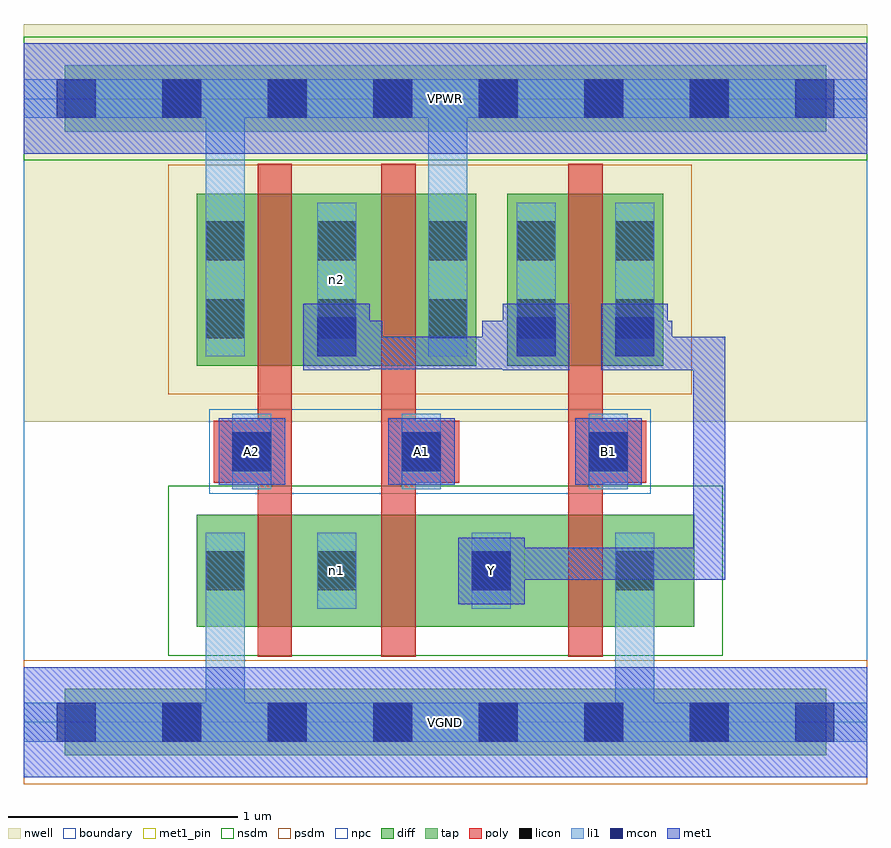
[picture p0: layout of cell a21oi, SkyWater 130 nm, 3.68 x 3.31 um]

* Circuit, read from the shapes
.subckt a21oi A1 A2 B1 VGND VPWR Y n1 n2
XM1 n1 A2 VGND VGND sky130_fd_pr__nfet_01v8 w=0.49 l=0.15
XM2 Y A1 n1 VGND sky130_fd_pr__nfet_01v8 w=0.49 l=0.15
XM3 VGND B1 Y VGND sky130_fd_pr__nfet_01v8 w=0.49 l=0.15
XM4 n2 A2 VPWR VPWR sky130_fd_pr__pfet_01v8 w=0.75 l=0.15
XM5 VPWR A1 n2 VPWR sky130_fd_pr__pfet_01v8 w=0.75 l=0.15
XM6 Y B1 n2 VPWR sky130_fd_pr__pfet_01v8 w=0.75 l=0.15
.ends

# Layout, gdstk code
import gdstk
lib = gdstk.Library(unit=1e-6, precision=1e-09)
def R(c, l, rs):  # rectangles x0, y0, x1, y1
    for r in rs: c.add(gdstk.rectangle(r[:2], r[2:], *l))
def A(c, l, x, y, w, h, nx, ny, dx, dy):  # array of equal rectangles
    R(c, l, [(x+i*dx, y+j*dy, x+i*dx+w, y+j*dy+h) for i in range(nx) for j in range(ny)])
nwell = (64, 20)
diff = (65, 20)
tap = (65, 44)
poly = (66, 20)
licon = (66, 44)
li1 = (67, 20)
mcon = (67, 44)
met1_pin = (68, 16)
met1 = (68, 20)
nsdm = (93, 44)
psdm = (94, 20)
npc = (95, 20)
boundary = (235, 4)

a21oi = lib.new_cell('a21oi')
R(a21oi, nwell, [(0,1.31,3.68,3.045)])
R(a21oi, diff, [(0.755,0.415,2.925,0.905), (0.755,1.555,1.975,2.305), (2.11,1.555,2.79,2.305)])
R(a21oi, tap, [(0.18,-0.145,3.5,0.145), (0.18,2.575,3.5,2.865)])
R(a21oi, poly, [(1.02,0.285,1.17,2.435), (1.56,0.285,1.71,2.435), (2.375,0.285,2.525,2.435), (0.83,1.045,1.16,1.315), (1.57,1.045,1.9,1.315), (2.385,1.045,2.715,1.315)])
A(a21oi, licon, 0.605, -0.085, 0.17, 0.17, 6, 2, 0.46, 2.72)
A(a21oi, licon, 0.795, 1.675, 0.17, 0.17, 3, 2, 0.485, 0.34)
R(a21oi, licon, [(0.795,0.575,0.965,0.745), (1.28,0.575,1.45,0.745), (1.955,0.575,2.125,0.745), (2.58,0.575,2.75,0.745), (0.91,1.095,1.08,1.265), (1.65,1.095,1.82,1.265), (2.465,1.095,2.635,1.265), (2.15,1.675,2.32,1.845), (2.58,1.675,2.75,1.845), (2.15,2.015,2.32,2.185), (2.58,2.015,2.75,2.185)])
A(a21oi, li1, 0.795, 1.595, 0.17, 0.67, 3, 1, 0.485, 0)
R(a21oi, li1, [(0,-0.085,3.68,0.085), (0.795,-0.085,0.965,0.825), (2.58,-0.085,2.75,0.825), (0.795,0.495,0.965,0.825), (1.28,0.495,1.45,0.825), (1.955,0.495,2.125,0.825), (2.58,0.495,2.75,0.825), (0.91,1.015,1.08,1.345), (1.65,1.015,1.82,1.345), (2.465,1.015,2.635,1.345), (0.795,1.595,0.965,2.805), (1.765,1.595,1.935,2.805), (2.15,1.595,2.32,2.265), (2.58,1.595,2.75,2.265), (0,2.635,3.68,2.805)])
A(a21oi, mcon, 0.145, -0.085, 0.17, 0.17, 8, 2, 0.46, 2.72)
R(a21oi, mcon, [(1.955,0.575,2.125,0.745), (0.91,1.095,1.08,1.265), (1.65,1.095,1.82,1.265), (2.465,1.095,2.635,1.265), (1.28,1.595,1.45,1.765), (2.15,1.595,2.32,1.765), (2.58,1.595,2.75,1.765)])
R(a21oi, met1_pin, [(0,-0.24,3.68,0.24), (1.895,0.515,2.185,0.805), (0.85,1.035,1.14,1.325), (1.59,1.035,1.88,1.325), (2.405,1.035,2.695,1.325), (0,2.48,3.68,2.96)])
R(a21oi, met1, [(0,-0.24,3.68,0.24), (1.895,0.515,2.185,0.805), (2,0.62,2.14,0.76), (2,0.62,3.06,0.76), (2.92,0.62,3.06,1.68), (0.85,1.035,1.14,1.325), (1.59,1.035,1.88,1.325), (2.405,1.035,2.695,1.325), (1.22,1.535,1.51,1.825), (2.09,1.535,2.38,1.825), (2.52,1.535,2.81,1.825), (2.81,1.535,2.92,1.68), (1.425,1.54,1.565,1.75), (1.425,1.54,2.14,1.68), (2,1.54,2.14,1.75), (2.69,1.54,2.83,1.75), (2.69,1.54,3.06,1.68), (1.295,1.61,1.565,1.75), (2,1.61,2.305,1.75), (2.595,1.61,2.83,1.75), (0,2.48,3.68,2.96)])
R(a21oi, nsdm, [(0.63,0.29,3.05,1.03), (0,2.45,3.68,2.99)])
R(a21oi, psdm, [(0,-0.27,3.68,0.27), (0.63,1.43,2.915,2.43)])
R(a21oi, npc, [(0.81,0.995,2.735,1.365)])
R(a21oi, boundary, [(0,0,3.68,2.72)])
a21oi.add(gdstk.Label('n1', (1.365,0.66), layer=67, texttype=5))
a21oi.add(gdstk.Label('n2', (1.365,1.93), layer=67, texttype=5))
a21oi.add(gdstk.Label('A2', (0.995,1.18), layer=68, texttype=5))
a21oi.add(gdstk.Label('A1', (1.735,1.18), layer=68, texttype=5))
a21oi.add(gdstk.Label('B1', (2.55,1.18), layer=68, texttype=5))
a21oi.add(gdstk.Label('Y', (2.04,0.66), layer=68, texttype=5))
a21oi.add(gdstk.Label('VPWR', (1.84,2.72), layer=68, texttype=5))
a21oi.add(gdstk.Label('VGND', (1.84,0), layer=68, texttype=5))
a21oi.add(gdstk.Label('A2', (0.995,1.18), layer=68, texttype=16))
a21oi.add(gdstk.Label('A1', (1.735,1.18), layer=68, texttype=16))
a21oi.add(gdstk.Label('B1', (2.55,1.18), layer=68, texttype=16))
a21oi.add(gdstk.Label('Y', (2.04,0.66), layer=68, texttype=16))
a21oi.add(gdstk.Label('VPWR', (1.84,2.72), layer=68, texttype=16))
a21oi.add(gdstk.Label('VGND', (1.84,0), layer=68, texttype=16))

lib.write_gds('a21oi.gds')
